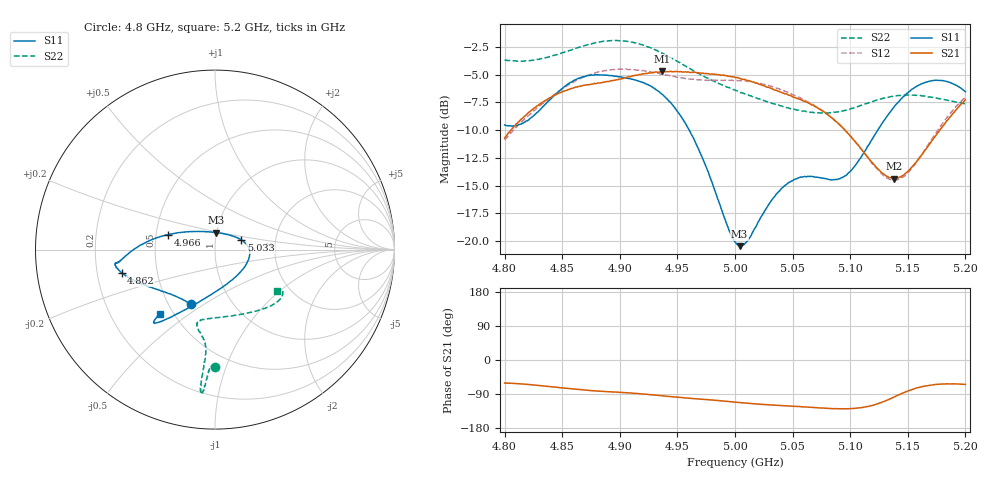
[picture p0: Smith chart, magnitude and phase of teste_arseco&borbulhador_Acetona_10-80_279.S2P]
! Network Analyzer HP8722D
! Hewlett-Packard
! Data name: Linha & Wilkinson
! Saver's name: Rodrigo Anjos
! Comments: Teste da utilização de aquisição
! continua pelo VNA HP8722D
! Time and date: 17/4/2025 16:41
!  Frequency  S11  S21  S12  S22
# HZ  S  MA R 50
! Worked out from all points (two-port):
!   401 points, 4.8 GHz to 5.2 GHz, reference 50 ohm
!   highest |S21| = -4.68 dB at 4.937 GHz (marker M1); lowest = -14.4 dB at 5.138 GHz (marker M2)
!   |S21| within 3 dB of the highest: 4.83 GHz to 5.066 GHz (236.1 MHz wide, 4.77 % of centre); 5.196091 GHz to end of sweep
!   lowest |S11| = -20.5 dB at 5.004 GHz (marker M3), VSWR 1.21, Z = 49.8 + j9.48 ohm
!   |S11| at or under -10 dB: 4.96 GHz to 5.124 GHz (163.5 MHz wide, 3.24 % of centre)
!   |S22| runs from -8.5 to -1.9 dB; largest |S21 - S12| = 0.88
!   S11 on the Smith chart (normalised r, x): 4.8 GHz: 0.64, -0.44; 4.862 GHz: 0.31, -0.11; 4.966 GHz: 0.58, +0.10; 5.033 GHz: 1.33, +0.15; 5.2 GHz: 0.42, -0.39
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4.8e9  0.3338 -113.7  0.2913 -60.8  0.2856 -175.0  0.6557 -90.1
4.819e9  0.3482 -133.7  0.3718 -64.3  0.3615 -173.7  0.6517 -91.7
4.862e9  0.536 -166.1  0.4955 -77.1  0.5296 -177.2  0.7415 -94.1
4.867e9  0.5491 -168.0  0.502 -78.7  0.5446 -178.0  0.7556 -94.1
4.899e9  0.5514 -172.5  0.5364 -85.3  0.5965 175.4  0.8019 -95.5
4.934e9  0.4724 -178.4  0.5776 -93.8  0.5715 171.8  0.7157 -95.9
4.937e9  0.4587 -179.6  0.5836 -94.6  0.5648 171.8  0.7047 -95.8
4.952e9  0.3721 172.6  0.5803 -98.7  0.5475 172.2  0.6387 -95.5
4.966e9  0.2758 162.5  0.5764 -102.2  0.5341 173.8  0.5795 -95.1
5e9  0.09896 100.0  0.5484 -111.4  0.5307 175.9  0.4795 -99.2
5.004e9  0.0946 86.0  0.5427 -112.1  0.5289 176.0  0.4702 -100.1
5.012e9  0.1019 59.0  0.5287 -114.4  0.5251 175.8  0.4544 -101.8
5.033e9  0.1557 20.7  0.4845 -119.0  0.4955 174.7  0.4171 -103.5
5.049e9  0.1861 4.2  0.451 -121.7  0.4609 174.1  0.3954 -99.9
5.067e9  0.1954 -15.0  0.4105 -125.0  0.4152 173.6  0.3811 -90.3
5.085e9  0.189 -43.2  0.3559 -128.5  0.3566 173.5  0.3805 -76.9
5.097e9  0.1983 -67.7  0.3099 -128.7  0.3107 174.7  0.3899 -67.0
5.134e9  0.3777 -116.9  0.1932 -103.4  0.1901 -156.3  0.4468 -43.0
5.138e9  0.4026 -119.2  0.191 -97.9  0.188 -150.1  0.45 -41.2
5.15e9  0.467 -124.6  0.2057 -81.9  0.2026 -131.6  0.4557 -36.8
5.17e9  0.5282 -129.2  0.2785 -66.2  0.2839 -112.2  0.4463 -32.0
5.2e9  0.4721 -130.7  0.4332 -64.5  0.4455 -106.6  0.4146 -33.5
